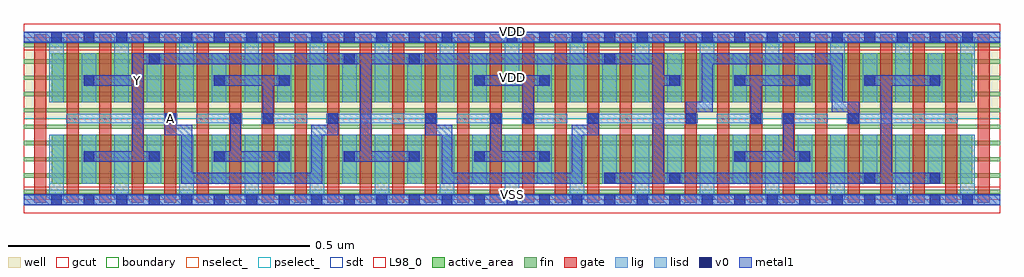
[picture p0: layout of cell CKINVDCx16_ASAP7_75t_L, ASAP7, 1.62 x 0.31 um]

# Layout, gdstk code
import gdstk
lib = gdstk.Library(unit=1e-6, precision=2.5e-10)
def R(c, l, rs):  # rectangles x0, y0, x1, y1
    for r in rs: c.add(gdstk.rectangle(r[:2], r[2:], *l))
def A(c, l, x, y, w, h, nx, ny, dx, dy):  # array of equal rectangles
    R(c, l, [(x+i*dx, y+j*dy, x+i*dx+w, y+j*dy+h) for i in range(nx) for j in range(ny)])
def P(c, l, *ps):  # polygons
    for p in ps: c.add(gdstk.Polygon(p, *l))
well = (1, 0)
fin = (2, 0)
gate = (7, 0)
gcut = (10, 0)
active_area = (11, 0)
nselect_ = (12, 0)
pselect_ = (13, 0)
lig = (16, 0)
lisd = (17, 0)
v0 = (18, 0)
metal1 = (19, 0)
sdt = (88, 0)
L98_0 = (98, 0)
boundary = (100, 0)

ckinvdcx16_asap7_75t_l = lib.new_cell('CKINVDCx16_ASAP7_75t_L')
R(ckinvdcx16_asap7_75t_l, well, [(0,0.135,1.62,0.27)])
A(ckinvdcx16_asap7_75t_l, fin, 0, 0.01, 1.62, 0.007, 1, 10, 0, 0.027)
A(ckinvdcx16_asap7_75t_l, gate, 0.017, -0.005, 0.02, 0.28, 30, 1, 0.054, 0)
R(ckinvdcx16_asap7_75t_l, gcut, [(0,-0.022,1.62,0.022), (0,0.248,1.62,0.292)])
R(ckinvdcx16_asap7_75t_l, active_area, [(0.046,0.027,1.574,0.108), (0.046,0.162,1.574,0.243)])
R(ckinvdcx16_asap7_75t_l, nselect_, [(0,0,1.62,0.135)])
R(ckinvdcx16_asap7_75t_l, pselect_, [(0,0.135,1.62,0.27)])
A(ckinvdcx16_asap7_75t_l, lig, 0.07, 0.127, 0.184, 0.016, 4, 1, 0.432, 0)
R(ckinvdcx16_asap7_75t_l, lig, [(0,-0.008,1.62,0.008), (0.232,0.126,0.254,0.144), (0.34,0.126,0.362,0.144), (0.394,0.126,0.416,0.144), (0.61,0.126,0.632,0.144), (0.772,0.126,0.794,0.144), (0.826,0.126,0.848,0.144), (1.042,0.126,1.064,0.144), (1.204,0.126,1.226,0.144), (1.258,0.126,1.28,0.144), (1.42,0.126,1.442,0.144), (0.286,0.127,0.362,0.143), (0.394,0.127,0.47,0.143), (0.718,0.127,0.794,0.143), (0.826,0.127,0.902,0.143), (1.15,0.127,1.226,0.143), (1.258,0.127,1.334,0.143), (0,0.262,1.62,0.278)])
A(ckinvdcx16_asap7_75t_l, lisd, 0.096, 0.027, 0.024, 0.081, 14, 2, 0.108, 0.135)
R(ckinvdcx16_asap7_75t_l, lisd, [(0.042,0,0.066,0.108), (0.042,0,0.066,0.108), (0.15,0,0.174,0.108), (0.15,0,0.174,0.108), (0.258,0,0.282,0.108), (0.258,0,0.282,0.108), (0.366,0,0.39,0.108), (0.366,0,0.39,0.108), (0.474,0,0.498,0.108), (0.474,0,0.498,0.108), (0.582,0,0.606,0.108), (0.582,0,0.606,0.108), (0.69,0,0.714,0.108), (0.69,0,0.714,0.108), (0.798,0,0.822,0.108), (0.798,0,0.822,0.108), (0.906,0,0.93,0.108), (0.906,0,0.93,0.108), (1.014,0,1.038,0.108), (1.014,0,1.038,0.108), (1.122,0,1.146,0.108), (1.122,0,1.146,0.108), (1.23,0,1.254,0.108), (1.23,0,1.254,0.108), (1.338,0,1.362,0.108), (1.338,0,1.362,0.108), (1.446,0,1.47,0.108), (1.446,0,1.47,0.108), (1.554,0,1.578,0.108), (1.554,0,1.578,0.108), (0.042,0.162,0.066,0.27), (0.042,0.162,0.066,0.27), (0.15,0.162,0.174,0.27), (0.15,0.162,0.174,0.27), (0.258,0.162,0.282,0.27), (0.258,0.162,0.282,0.27), (0.366,0.162,0.39,0.27), (0.366,0.162,0.39,0.27), (0.474,0.162,0.498,0.27), (0.474,0.162,0.498,0.27), (0.582,0.162,0.606,0.27), (0.582,0.162,0.606,0.27), (0.69,0.162,0.714,0.27), (0.69,0.162,0.714,0.27), (0.798,0.162,0.822,0.27), (0.798,0.162,0.822,0.27), (0.906,0.162,0.93,0.27), (0.906,0.162,0.93,0.27), (1.014,0.162,1.038,0.27), (1.014,0.162,1.038,0.27), (1.122,0.162,1.146,0.27), (1.122,0.162,1.146,0.27), (1.23,0.162,1.254,0.27), (1.23,0.162,1.254,0.27), (1.338,0.162,1.362,0.27), (1.338,0.162,1.362,0.27), (1.446,0.162,1.47,0.27), (1.446,0.162,1.47,0.27), (1.554,0.162,1.578,0.27), (1.554,0.162,1.578,0.27)])
A(ckinvdcx16_asap7_75t_l, v0, 0.045, -0.009, 0.018, 0.018, 29, 2, 0.054, 0.27)
A(ckinvdcx16_asap7_75t_l, v0, 0.099, 0.063, 0.018, 0.018, 8, 1, 0.108, 0)
A(ckinvdcx16_asap7_75t_l, v0, 1.071, 0.189, 0.018, 0.018, 5, 1, 0.108, 0)
R(ckinvdcx16_asap7_75t_l, v0, [(0.963,0.027,0.981,0.045), (1.071,0.027,1.089,0.045), (1.395,0.027,1.413,0.045), (1.503,0.027,1.521,0.045), (1.179,0.063,1.197,0.081), (1.287,0.063,1.305,0.081), (0.234,0.126,0.252,0.144), (0.342,0.126,0.36,0.144), (0.396,0.126,0.414,0.144), (0.504,0.126,0.522,0.144), (0.666,0.126,0.684,0.144), (0.774,0.126,0.792,0.144), (0.828,0.126,0.846,0.144), (0.936,0.126,0.954,0.144), (1.098,0.126,1.116,0.144), (1.206,0.126,1.224,0.144), (1.26,0.126,1.278,0.144), (1.368,0.126,1.386,0.144), (0.099,0.189,0.117,0.207), (0.315,0.189,0.333,0.207), (0.423,0.189,0.441,0.207), (0.747,0.189,0.765,0.207), (0.855,0.189,0.873,0.207), (0.207,0.225,0.225,0.243), (0.531,0.225,0.549,0.243), (0.639,0.225,0.657,0.243), (0.963,0.225,0.981,0.243)])
A(ckinvdcx16_asap7_75t_l, metal1, 0.099, 0.063, 0.018, 0.018, 8, 1, 0.108, 0)
A(ckinvdcx16_asap7_75t_l, metal1, 1.071, 0.189, 0.018, 0.018, 5, 1, 0.108, 0)
R(ckinvdcx16_asap7_75t_l, metal1, [(0,-0.009,1.62,0.009), (0.963,0.027,0.981,0.045), (1.071,0.027,1.089,0.045), (1.395,0.027,1.413,0.045), (1.503,0.027,1.521,0.045), (1.179,0.063,1.197,0.081), (1.287,0.063,1.305,0.081), (0.234,0.126,0.252,0.144), (0.342,0.126,0.36,0.144), (0.396,0.126,0.414,0.144), (0.504,0.126,0.522,0.144), (0.666,0.126,0.684,0.144), (0.774,0.126,0.792,0.144), (0.828,0.126,0.846,0.144), (0.936,0.126,0.954,0.144), (1.098,0.126,1.116,0.144), (1.206,0.126,1.224,0.144), (1.26,0.126,1.278,0.144), (1.368,0.126,1.386,0.144), (0.099,0.189,0.117,0.207), (0.315,0.189,0.333,0.207), (0.423,0.189,0.441,0.207), (0.747,0.189,0.765,0.207), (0.855,0.189,0.873,0.207), (0.207,0.225,0.225,0.243), (0.531,0.225,0.549,0.243), (0.639,0.225,0.657,0.243), (0.963,0.225,0.981,0.243), (0,0.261,1.62,0.279)])
P(ckinvdcx16_asap7_75t_l, metal1, [(1.368,0.126),(1.386,0.126),(1.386,0.163),(1.359,0.163),(1.359,0.243),(1.125,0.243),(1.125,0.163),(1.098,0.163),(1.098,0.126),(1.116,0.126),(1.116,0.145),(1.143,0.145),(1.143,0.225),(1.341,0.225),(1.341,0.145),(1.368,0.145)],
  [(0.927,0.107),(0.954,0.107),(0.954,0.144),(0.936,0.144),(0.936,0.125),(0.909,0.125),(0.909,0.045),(0.711,0.045),(0.711,0.125),(0.684,0.125),(0.684,0.144),(0.666,0.144),(0.666,0.107),(0.693,0.107),(0.693,0.027),(0.927,0.027)],
  [(0.495,0.107),(0.522,0.107),(0.522,0.144),(0.504,0.144),(0.504,0.125),(0.477,0.125),(0.477,0.045),(0.279,0.045),(0.279,0.125),(0.252,0.125),(0.252,0.144),(0.234,0.144),(0.234,0.107),(0.261,0.107),(0.261,0.027),(0.495,0.027)],
  [(1.521,0.207),(1.395,0.207),(1.395,0.189),(1.422,0.189),(1.422,0.045),(1.062,0.045),(1.062,0.189),(1.089,0.189),(1.089,0.207),(1.062,0.207),(1.062,0.243),(0.18,0.243),(0.18,0.207),(0.099,0.207),(0.099,0.189),(0.18,0.189),(0.18,0.081),(0.099,0.081),(0.099,0.063),(0.225,0.063),(0.225,0.081),(0.198,0.081),(0.198,0.225),(0.558,0.225),(0.558,0.081),(0.531,0.081),(0.531,0.063),(0.657,0.063),(0.657,0.081),(0.576,0.081),(0.576,0.225),(1.044,0.225),(1.044,0.045),(0.963,0.045),(0.963,0.027),(1.521,0.027),(1.521,0.045),(1.44,0.045),(1.44,0.189),(1.521,0.189)],
  [(0.36,0.144),(0.342,0.144),(0.342,0.081),(0.315,0.081),(0.315,0.063),(0.441,0.063),(0.441,0.081),(0.36,0.081)],
  [(0.315,0.189),(0.396,0.189),(0.396,0.126),(0.414,0.126),(0.414,0.189),(0.441,0.189),(0.441,0.207),(0.315,0.207)],
  [(0.792,0.144),(0.774,0.144),(0.774,0.081),(0.747,0.081),(0.747,0.063),(0.873,0.063),(0.873,0.081),(0.792,0.081)],
  [(0.747,0.189),(0.828,0.189),(0.828,0.126),(0.846,0.126),(0.846,0.189),(0.873,0.189),(0.873,0.207),(0.747,0.207)],
  [(1.305,0.207),(1.179,0.207),(1.179,0.189),(1.206,0.189),(1.206,0.126),(1.224,0.126),(1.224,0.189),(1.305,0.189)],
  [(1.305,0.081),(1.278,0.081),(1.278,0.144),(1.26,0.144),(1.26,0.081),(1.179,0.081),(1.179,0.063),(1.305,0.063)])
A(ckinvdcx16_asap7_75t_l, sdt, 0.042, 0.027, 0.024, 0.081, 3, 2, 0.054, 0.135)
A(ckinvdcx16_asap7_75t_l, sdt, 0.15, 0.027, 0.024, 0.081, 3, 2, 0.054, 0.135)
A(ckinvdcx16_asap7_75t_l, sdt, 0.258, 0.027, 0.024, 0.081, 3, 2, 0.054, 0.135)
A(ckinvdcx16_asap7_75t_l, sdt, 0.366, 0.027, 0.024, 0.081, 3, 2, 0.054, 0.135)
A(ckinvdcx16_asap7_75t_l, sdt, 0.474, 0.027, 0.024, 0.081, 3, 2, 0.054, 0.135)
A(ckinvdcx16_asap7_75t_l, sdt, 0.582, 0.027, 0.024, 0.081, 3, 2, 0.054, 0.135)
A(ckinvdcx16_asap7_75t_l, sdt, 0.69, 0.027, 0.024, 0.081, 3, 2, 0.054, 0.135)
A(ckinvdcx16_asap7_75t_l, sdt, 0.798, 0.027, 0.024, 0.081, 3, 2, 0.054, 0.135)
A(ckinvdcx16_asap7_75t_l, sdt, 0.906, 0.027, 0.024, 0.081, 3, 2, 0.054, 0.135)
A(ckinvdcx16_asap7_75t_l, sdt, 1.014, 0.027, 0.024, 0.081, 3, 2, 0.054, 0.135)
A(ckinvdcx16_asap7_75t_l, sdt, 1.122, 0.027, 0.024, 0.081, 3, 2, 0.054, 0.135)
A(ckinvdcx16_asap7_75t_l, sdt, 1.23, 0.027, 0.024, 0.081, 3, 2, 0.054, 0.135)
A(ckinvdcx16_asap7_75t_l, sdt, 1.338, 0.027, 0.024, 0.081, 3, 2, 0.054, 0.135)
A(ckinvdcx16_asap7_75t_l, sdt, 1.446, 0.027, 0.024, 0.081, 3, 2, 0.054, 0.135)
R(ckinvdcx16_asap7_75t_l, sdt, [(0.042,0.027,0.066,0.108), (1.554,0.027,1.578,0.108), (0.042,0.162,0.066,0.243), (1.554,0.162,1.578,0.243)])
R(ckinvdcx16_asap7_75t_l, L98_0, [(0,0,1.62,0.27)])
R(ckinvdcx16_asap7_75t_l, boundary, [(0,0,1.62,0.27)])
ckinvdcx16_asap7_75t_l.add(gdstk.Label('VDD', (0.81,0.2025), layer=1, texttype=251))
ckinvdcx16_asap7_75t_l.add(gdstk.Label('VSS', (0.81,-0.0675), layer=3, texttype=251))
ckinvdcx16_asap7_75t_l.add(gdstk.Label('VSS', (0.81,0.009), layer=19, texttype=251))
ckinvdcx16_asap7_75t_l.add(gdstk.Label('VDD', (0.81,0.279), layer=19, texttype=251))
ckinvdcx16_asap7_75t_l.add(gdstk.Label('A', (0.243,0.135), layer=19, texttype=251))
ckinvdcx16_asap7_75t_l.add(gdstk.Label('Y', (0.189,0.198), layer=19, texttype=251))

lib.write_gds('CKINVDCx16_ASAP7_75t_L.gds')
